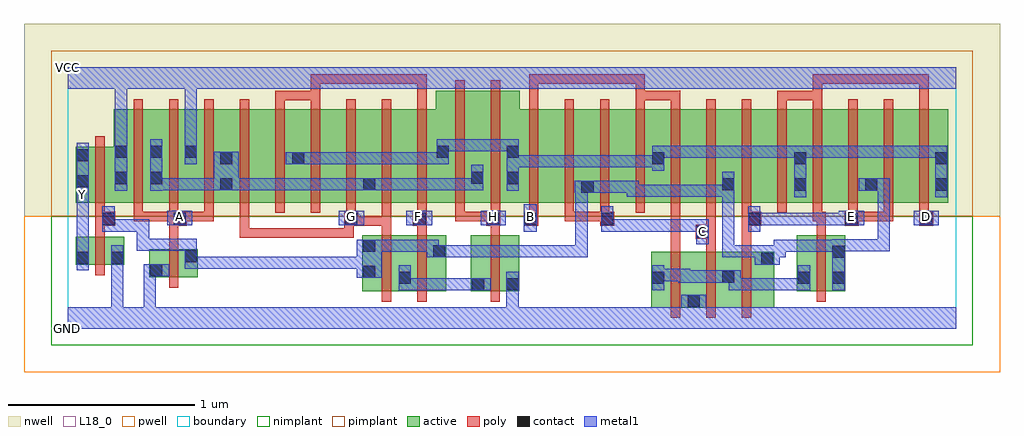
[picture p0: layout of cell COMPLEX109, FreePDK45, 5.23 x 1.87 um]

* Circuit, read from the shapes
.subckt COMPLEX109 A B C D E F G GND H VCC Y
M1 GND n1 Y VSUBS nfet w=0.15u l=0.05u
M2 n1 A GND VSUBS nfet w=0.15u l=0.05u
M3 n2 G n1 VSUBS nfet w=0.3u l=0.05u
M4 n1 F n2 VSUBS nfet w=0.3u l=0.05u
M5 GND H n2 VSUBS nfet w=0.3u l=0.05u
M6 GND B n3 VSUBS nfet w=0.3u l=0.05u
M7 n3 C GND VSUBS nfet w=0.3u l=0.05u
M8 n1 E n3 VSUBS nfet w=0.3u l=0.05u
M9 n1 D n3 VSUBS nfet w=0.3u l=0.05u
M10 VCC n1 Y n4 pfet w=0.3u l=0.05u
M11 n5 A VCC n4 pfet w=0.5u l=0.05u m=3
M12 n6 G n5 n4 pfet w=0.5u l=0.05u
M13 n7 F n6 n4 pfet w=0.5u l=0.05u
M14 n8 F n7 n4 pfet w=0.5u l=0.05u
M15 n5 G n8 n4 pfet w=0.5u l=0.05u
M16 n9 G n5 n4 pfet w=0.5u l=0.05u
M17 n7 F n9 n4 pfet w=0.5u l=0.05u
M18 n5 H n7 n4 pfet w=0.6u l=0.05u m=2
M19 n10 B n7 n4 pfet w=0.5u l=0.05u
M20 n1 C n10 n4 pfet w=0.5u l=0.05u
M21 n11 C n1 n4 pfet w=0.5u l=0.05u
M22 n7 B n11 n4 pfet w=0.5u l=0.05u
M23 n12 B n7 n4 pfet w=0.5u l=0.05u
M24 n1 C n12 n4 pfet w=0.5u l=0.05u
M25 n13 E n1 n4 pfet w=0.5u l=0.05u
M26 n7 D n13 n4 pfet w=0.5u l=0.05u
M27 n14 D n7 n4 pfet w=0.5u l=0.05u
M28 n1 E n14 n4 pfet w=0.5u l=0.05u
M29 n15 E n1 n4 pfet w=0.5u l=0.05u
M30 n7 D n15 n4 pfet w=0.5u l=0.05u
.ends

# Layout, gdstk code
import gdstk
lib = gdstk.Library(unit=1e-6, precision=1e-09)
def R(c, l, rs):  # rectangles x0, y0, x1, y1
    for r in rs: c.add(gdstk.rectangle(r[:2], r[2:], *l))
def A(c, l, x, y, w, h, nx, ny, dx, dy):  # array of equal rectangles
    R(c, l, [(x+i*dx, y+j*dy, x+i*dx+w, y+j*dy+h) for i in range(nx) for j in range(ny)])
active = (1, 0)
pwell = (2, 0)
nwell = (3, 0)
nimplant = (4, 0)
pimplant = (5, 0)
poly = (9, 0)
contact = (10, 0)
metal1 = (11, 0)
L18_0 = (18, 0)
boundary = (235, 0)

complex109 = lib.new_cell('COMPLEX109')
R(complex109, active, [(3.127,0.112,3.392,0.412), (3.317,0.112,3.577,0.412), (3.317,0.112,3.392,0.392), (3.502,0.112,3.785,0.412), (1.577,0.2,1.652,0.5), (1.577,0.2,1.842,0.5), (1.767,0.2,2.027,0.5), (1.767,0.2,1.842,0.392), (2.16,0.2,2.235,0.5), (2.16,0.2,2.42,0.5), (2.345,0.2,2.42,0.5), (3.127,0.2,3.202,0.412), (3.502,0.2,3.577,0.392), (3.907,0.2,3.982,0.5), (3.907,0.2,4.167,0.5), (4.092,0.2,4.167,0.5), (1.952,0.247,2.027,0.5), (3.71,0.247,3.785,0.412), (0.437,0.275,0.697,0.425), (0.437,0.275,0.512,0.425), (0.042,0.342,0.302,0.492), (0.042,0.342,0.117,0.492), (0.227,0.342,0.302,0.492), (0.622,0.35,0.697,0.425), (0.042,0.675,0.117,0.975), (0.042,0.675,0.322,0.975), (0.247,0.675,0.512,1.175), (0.437,0.675,0.512,1.175), (0.437,0.675,0.697,1.175), (0.622,0.675,0.697,1.175), (0.622,0.675,0.887,1.175), (0.812,0.675,1.042,1.175), (0.812,0.675,0.887,1.175), (1.042,0.675,1.272,1.175), (1.197,0.675,1.422,1.175), (1.197,0.675,1.272,1.175), (1.422,0.675,1.652,1.175), (1.577,0.675,1.802,1.175), (1.577,0.675,1.652,1.07), (1.802,0.675,2.047,1.175), (1.972,0.675,2.232,1.275), (2.157,0.675,2.232,1.07), (2.157,0.675,2.422,1.275), (2.347,0.675,2.592,1.175), (2.592,0.675,2.822,1.175), (2.747,0.675,2.972,1.175), (2.747,0.675,2.822,1.07), (2.972,0.675,3.202,1.175), (3.127,0.675,3.352,1.175), (3.127,0.675,3.202,1.175), (3.352,0.675,3.577,1.175), (3.502,0.675,3.577,1.07), (3.502,0.675,3.732,1.175), (3.732,0.675,3.962,1.175), (3.887,0.675,4.112,1.175), (3.887,0.675,3.962,1.175), (4.112,0.675,4.342,1.175), (4.267,0.675,4.492,1.175), (4.267,0.675,4.342,1.07), (4.492,0.675,4.717,1.175), (4.642,0.675,4.717,1.157), (1.972,0.762,2.047,1.2), (2.347,0.762,2.422,1.2), (0.247,0.77,0.322,1.175)])
R(complex109, pwell, [(-0.235,-0.235,4.995,0.602)])
R(complex109, nwell, [(-0.235,0.602,4.995,1.635)])
R(complex109, nimplant, [(-0.09,-0.09,4.85,0.602)])
R(complex109, pimplant, [(-0.09,0.602,4.85,1.49)])
A(complex109, poly, 3.232, 0.057, 0.05, 0.41, 3, 1, 0.19, 0)
A(complex109, poly, 0.352, 0.575, 0.05, 0.095, 3, 1, 0.19, 0)
A(complex109, poly, 2.472, 0.575, 0.05, 0.095, 3, 1, 0.19, 0)
A(complex109, poly, 3.992, 0.575, 0.05, 0.095, 4, 1, 0.19, 0)
A(complex109, poly, 0.352, 0.62, 0.05, 0.61, 9, 1, 0.19, 0)
A(complex109, poly, 2.472, 0.62, 0.05, 0.61, 12, 1, 0.19, 0)
R(complex109, poly, [(1.682,0.145,1.732,0.555), (1.872,0.145,1.922,0.555), (2.265,0.145,2.315,0.555), (4.012,0.145,4.062,0.555), (0.542,0.22,0.592,0.48), (0.147,0.287,0.197,0.547), (3.232,0.417,3.282,0.512), (3.422,0.417,3.472,0.532), (3.612,0.417,3.662,0.6), (0.542,0.43,0.592,0.6), (3.232,0.462,3.282,0.512), (3.232,0.462,3.282,0.67), (3.365,0.482,3.472,0.557), (0.922,0.487,0.972,0.537), (0.922,0.487,0.972,0.537), (0.922,0.487,0.972,0.537), (0.922,0.487,1.162,0.537), (0.922,0.487,0.972,0.67), (1.112,0.487,1.162,0.537), (1.112,0.487,1.162,0.537), (1.112,0.487,1.162,0.537), (1.112,0.487,1.295,0.537), (1.245,0.487,1.295,0.537), (1.245,0.487,1.532,0.537), (1.482,0.487,1.532,0.6), (0.147,0.497,0.197,0.6), (1.682,0.505,1.732,0.6), (1.872,0.505,1.922,0.6), (2.265,0.505,2.315,0.6), (4.012,0.505,4.062,0.625), (3.422,0.507,3.472,0.67), (0.147,0.55,0.255,0.625), (0.542,0.55,0.637,0.625), (1.482,0.55,1.532,0.6), (1.482,0.55,1.557,0.625), (1.507,0.55,1.732,0.6), (1.682,0.55,1.732,0.6), (1.682,0.55,1.732,0.6), (1.682,0.55,1.732,0.6), (1.682,0.55,1.732,0.67), (1.847,0.55,1.922,0.625), (2.242,0.55,2.317,0.625), (2.442,0.55,2.522,0.625), (2.852,0.55,2.927,0.625), (3.612,0.55,3.715,0.625), (4.162,0.55,4.237,0.625), (4.562,0.55,4.637,0.625), (0.147,0.575,0.197,0.67), (0.352,0.575,0.402,0.625), (0.352,0.575,0.592,0.625), (0.542,0.575,0.592,0.625), (0.542,0.575,0.592,0.625), (0.587,0.575,0.782,0.625), (0.732,0.575,0.782,0.625), (0.732,0.575,0.782,0.625), (0.732,0.575,0.782,0.625), (1.492,0.575,1.542,0.67), (1.872,0.575,1.922,0.67), (2.077,0.575,2.127,0.625), (2.077,0.575,2.127,0.67), (2.077,0.575,2.292,0.625), (2.242,0.575,2.292,0.625), (2.242,0.575,2.292,0.625), (2.267,0.575,2.317,0.67), (2.662,0.575,2.712,0.625), (2.662,0.575,2.902,0.625), (2.852,0.575,2.902,0.625), (2.852,0.575,2.902,0.625), (3.612,0.575,3.662,0.67), (3.992,0.575,4.062,0.625), (4.187,0.575,4.422,0.625), (4.372,0.575,4.422,0.625), (4.372,0.575,4.422,0.625), (4.372,0.575,4.422,0.625), (0.147,0.62,0.197,1.03), (2.077,0.62,2.127,1.33), (2.267,0.62,2.317,1.33), (1.112,1.18,1.162,1.275), (1.302,1.18,1.352,1.275), (1.872,1.18,1.922,1.362), (2.472,1.18,2.522,1.362), (3.042,1.18,3.092,1.275), (3.232,1.18,3.282,1.275), (3.802,1.18,3.852,1.275), (3.992,1.18,4.042,1.275), (4.562,1.18,4.612,1.362), (1.112,1.225,1.162,1.275), (1.112,1.225,1.162,1.275), (1.112,1.225,1.162,1.275), (1.112,1.225,1.352,1.275), (1.302,1.225,1.352,1.362), (3.042,1.225,3.282,1.275), (3.042,1.225,3.092,1.282), (3.232,1.225,3.282,1.275), (3.232,1.225,3.282,1.275), (3.232,1.225,3.282,1.275), (3.802,1.225,3.852,1.275), (3.802,1.225,3.852,1.275), (3.802,1.225,3.852,1.275), (3.802,1.225,4.042,1.275), (3.992,1.225,4.042,1.362), (3.042,1.232,3.092,1.282), (3.042,1.232,3.092,1.362), (1.302,1.312,1.6,1.362), (1.55,1.312,1.6,1.362), (1.55,1.312,1.6,1.362), (1.55,1.312,1.6,1.362), (1.55,1.312,1.732,1.362), (1.682,1.312,1.732,1.362), (1.682,1.312,1.732,1.362), (1.682,1.312,1.732,1.362), (1.682,1.312,1.922,1.362), (1.872,1.312,1.922,1.362), (1.872,1.312,1.922,1.362), (1.872,1.312,1.922,1.362), (2.472,1.312,2.522,1.362), (2.472,1.312,2.522,1.362), (2.472,1.312,2.522,1.362), (2.472,1.312,2.655,1.362), (2.605,1.312,2.655,1.362), (2.605,1.312,2.655,1.362), (2.605,1.312,2.655,1.362), (2.605,1.312,2.845,1.362), (2.795,1.312,2.845,1.362), (2.795,1.312,3.092,1.362), (3.992,1.312,4.042,1.362), (3.992,1.312,4.042,1.362), (3.992,1.312,4.29,1.362), (4.24,1.312,4.29,1.362), (4.24,1.312,4.29,1.362), (4.24,1.312,4.29,1.362), (4.24,1.312,4.422,1.362), (4.372,1.312,4.422,1.362), (4.372,1.312,4.612,1.362), (4.562,1.312,4.612,1.362), (4.562,1.312,4.612,1.362), (4.562,1.312,4.612,1.362)])
R(complex109, contact, [(3.322,0.117,3.387,0.182), (2.165,0.205,2.23,0.27), (2.35,0.205,2.415,0.27), (1.772,0.24,1.837,0.305), (3.132,0.24,3.197,0.305), (3.912,0.24,3.977,0.305), (4.097,0.24,4.162,0.305), (3.507,0.245,3.572,0.31), (1.582,0.272,1.647,0.337), (0.442,0.28,0.507,0.345), (3.715,0.342,3.78,0.407), (0.047,0.347,0.112,0.412), (0.232,0.347,0.297,0.412), (0.627,0.355,0.692,0.42), (4.097,0.38,4.162,0.445), (1.957,0.382,2.022,0.447), (1.582,0.412,1.647,0.477), (3.37,0.487,3.435,0.552), (0.185,0.555,0.25,0.62), (0.567,0.555,0.632,0.62), (1.487,0.555,1.552,0.62), (1.852,0.555,1.917,0.62), (2.247,0.555,2.312,0.62), (2.447,0.555,2.512,0.62), (2.857,0.555,2.922,0.62), (3.645,0.555,3.71,0.62), (4.167,0.555,4.232,0.62), (4.567,0.555,4.632,0.62), (2.752,0.727,2.817,0.792), (3.892,0.74,3.957,0.805), (4.272,0.74,4.337,0.805), (4.647,0.74,4.712,0.805), (0.817,0.742,0.882,0.807), (1.582,0.742,1.647,0.807), (3.507,0.742,3.572,0.807), (0.047,0.757,0.112,0.822), (0.252,0.775,0.317,0.84), (0.442,0.775,0.507,0.84), (2.352,0.775,2.417,0.84), (2.162,0.777,2.227,0.842), (1.202,0.88,1.267,0.945), (3.132,0.88,3.197,0.945), (3.892,0.88,3.957,0.945), (4.647,0.88,4.712,0.945), (0.817,0.882,0.882,0.947), (0.047,0.897,0.112,0.962), (0.252,0.915,0.317,0.98), (0.442,0.915,0.507,0.98), (0.627,0.915,0.692,0.98), (1.977,0.915,2.042,0.98), (2.352,0.915,2.417,0.98)])
R(complex109, metal1, [(0,0,4.76,0.115), (0.232,0.05,0.297,0.115), (0.232,0.05,0.297,0.115), (0.232,0.05,0.297,0.115), (0.232,0.05,0.297,0.115), (0.232,0.05,0.297,0.377), (0.407,0.05,0.472,0.345), (2.35,0.05,2.415,0.115), (2.35,0.05,2.415,0.115), (2.35,0.05,2.415,0.235), (3.287,0.05,3.352,0.115), (3.287,0.05,3.352,0.115), (3.287,0.05,3.352,0.182), (3.287,0.117,3.422,0.182), (2.35,0.17,2.415,0.305), (1.772,0.205,1.975,0.27), (1.772,0.205,1.837,0.34), (1.91,0.205,1.975,0.27), (1.91,0.205,1.975,0.27), (1.91,0.205,1.975,0.27), (1.91,0.205,2.14,0.27), (2.075,0.205,2.14,0.27), (2.075,0.205,2.195,0.27), (2.13,0.205,2.265,0.27), (3.132,0.205,3.197,0.34), (3.542,0.205,3.745,0.27), (3.542,0.205,3.607,0.31), (3.68,0.205,3.745,0.27), (3.68,0.205,3.847,0.27), (3.782,0.205,3.847,0.27), (3.782,0.205,3.977,0.27), (3.912,0.205,3.977,0.34), (4.097,0.205,4.162,0.48), (3.472,0.245,3.607,0.312), (3.542,0.245,3.607,0.31), (3.27,0.247,3.537,0.312), (3.27,0.247,3.335,0.32), (3.132,0.255,3.197,0.32), (3.132,0.255,3.197,0.32), (3.132,0.255,3.335,0.32), (3.27,0.255,3.335,0.32), (3.27,0.255,3.335,0.32), (1.547,0.272,1.682,0.477), (0.407,0.28,0.472,0.345), (0.407,0.28,0.472,0.345), (0.407,0.28,0.472,0.345), (0.407,0.28,0.472,0.345), (0.407,0.28,0.542,0.345), (0.047,0.312,0.112,0.447), (0.232,0.312,0.297,0.447), (0.627,0.32,0.83,0.385), (0.627,0.32,0.692,0.455), (0.765,0.32,0.83,0.385), (0.765,0.32,0.83,0.385), (0.765,0.32,0.83,0.385), (0.765,0.32,0.985,0.385), (0.92,0.32,0.985,0.385), (0.92,0.32,1.095,0.385), (1.03,0.32,1.095,0.385), (1.03,0.32,1.122,0.385), (1.057,0.32,1.122,0.385), (1.057,0.32,1.26,0.385), (1.195,0.32,1.26,0.385), (1.195,0.32,1.26,0.385), (1.195,0.32,1.26,0.385), (1.195,0.32,1.44,0.385), (1.375,0.32,1.44,0.385), (1.375,0.32,1.44,0.385), (1.375,0.32,1.44,0.385), (1.375,0.32,1.612,0.385), (3.68,0.342,3.815,0.447), (0.047,0.382,0.112,0.717), (1.922,0.382,1.987,0.447), (1.922,0.382,1.987,0.477), (1.922,0.382,2.057,0.447), (1.992,0.382,2.125,0.447), (2.06,0.382,2.125,0.447), (2.06,0.382,2.277,0.447), (2.212,0.382,2.277,0.447), (2.212,0.382,2.277,0.447), (2.212,0.382,2.277,0.447), (2.212,0.382,2.415,0.447), (2.35,0.382,2.415,0.447), (2.35,0.382,2.415,0.447), (2.35,0.382,2.415,0.447), (2.35,0.382,2.647,0.447), (2.582,0.382,2.647,0.447), (2.582,0.382,2.647,0.447), (2.582,0.382,2.647,0.447), (2.582,0.382,2.715,0.447), (2.65,0.382,2.715,0.447), (2.65,0.382,2.785,0.447), (2.72,0.382,2.785,0.447), (2.72,0.382,2.785,0.792), (3.507,0.382,3.572,0.447), (3.507,0.382,3.71,0.447), (3.507,0.382,3.572,0.772), (3.645,0.382,3.71,0.447), (3.645,0.382,3.745,0.447), (3.75,0.382,3.847,0.447), (3.782,0.382,3.847,0.477), (0.627,0.39,0.692,0.455), (0.627,0.39,0.692,0.482), (1.617,0.412,1.682,0.477), (1.617,0.412,1.682,0.477), (1.617,0.412,1.82,0.477), (1.755,0.412,1.82,0.477), (1.755,0.412,1.987,0.477), (3.782,0.412,3.985,0.477), (3.92,0.412,3.985,0.477), (3.92,0.412,3.985,0.477), (3.92,0.412,3.985,0.477), (3.92,0.412,4.162,0.477), (4.097,0.415,4.162,0.48), (4.097,0.415,4.162,0.48), (4.097,0.415,4.405,0.48), (4.34,0.415,4.405,0.48), (4.34,0.415,4.405,0.48), (4.34,0.415,4.405,0.48), (4.34,0.415,4.405,0.805), (0.37,0.417,0.435,0.482), (0.37,0.417,0.692,0.482), (0.37,0.417,0.435,0.585), (3.367,0.452,3.435,0.587), (0.185,0.52,0.25,0.585), (0.185,0.52,0.25,0.585), (0.185,0.52,0.25,0.655), (0.185,0.52,0.435,0.585), (0.37,0.52,0.435,0.585), (0.37,0.52,0.435,0.585), (0.37,0.52,0.435,0.585), (2.442,0.52,2.512,0.667), (2.857,0.52,3.06,0.585), (2.857,0.52,2.922,0.655), (2.995,0.52,3.197,0.585), (2.995,0.52,3.06,0.585), (2.995,0.52,3.06,0.585), (2.995,0.52,3.06,0.585), (3.132,0.52,3.197,0.585), (3.132,0.52,3.197,0.585), (3.132,0.52,3.197,0.585), (3.132,0.52,3.4,0.585), (3.335,0.52,3.4,0.585), (3.335,0.52,3.432,0.585), (3.645,0.52,3.71,0.655), (0.532,0.555,0.667,0.632), (1.452,0.555,1.587,0.632), (1.812,0.555,1.952,0.632), (2.212,0.555,2.347,0.632), (3.645,0.555,3.745,0.62), (3.68,0.555,3.745,0.62), (3.68,0.555,3.847,0.62), (3.782,0.555,3.847,0.62), (3.782,0.555,3.985,0.62), (3.92,0.555,3.985,0.62), (3.92,0.555,3.985,0.62), (3.92,0.555,3.985,0.62), (3.92,0.555,4.142,0.62), (4.077,0.555,4.142,0.62), (4.077,0.555,4.197,0.62), (4.132,0.555,4.267,0.632), (4.532,0.555,4.667,0.632), (0.047,0.652,0.112,0.787), (3.892,0.705,3.957,0.98), (4.647,0.705,4.712,0.98), (2.995,0.707,3.197,0.772), (2.995,0.707,3.06,0.792), (3.132,0.707,3.197,0.772), (3.132,0.707,3.197,0.772), (3.132,0.707,3.197,0.772), (3.132,0.707,3.4,0.772), (3.335,0.707,3.4,0.772), (3.335,0.707,3.4,0.772), (3.335,0.707,3.4,0.772), (3.335,0.707,3.572,0.772), (3.507,0.707,3.572,0.772), (3.507,0.707,3.572,0.772), (3.507,0.707,3.572,0.842), (0.047,0.722,0.112,0.997), (0.047,0.722,0.112,0.787), (2.717,0.727,2.852,0.792), (2.787,0.727,2.852,0.792), (2.787,0.727,2.852,0.792), (2.787,0.727,3.06,0.792), (2.995,0.727,3.06,0.792), (2.995,0.727,3.06,0.792), (0.252,0.74,0.317,1.015), (0.442,0.74,0.507,1.015), (2.352,0.74,2.417,1.015), (4.237,0.74,4.405,0.805), (0.442,0.742,0.645,0.807), (0.58,0.742,0.645,0.807), (0.58,0.742,0.645,0.807), (0.58,0.742,0.645,0.807), (0.58,0.742,0.847,0.807), (0.782,0.742,0.847,0.807), (0.782,0.742,0.847,0.807), (0.782,0.742,0.917,0.947), (0.852,0.742,0.985,0.807), (0.92,0.742,0.985,0.807), (0.92,0.742,1.095,0.807), (1.03,0.742,1.095,0.807), (1.03,0.742,1.122,0.807), (1.057,0.742,1.122,0.807), (1.057,0.742,1.26,0.807), (1.195,0.742,1.26,0.807), (1.195,0.742,1.26,0.807), (1.195,0.742,1.26,0.807), (1.195,0.742,1.44,0.807), (1.375,0.742,1.44,0.807), (1.375,0.742,1.44,0.807), (1.375,0.742,1.44,0.807), (1.375,0.742,1.612,0.807), (1.547,0.742,1.682,0.807), (1.617,0.742,1.682,0.807), (1.617,0.742,1.682,0.807), (1.617,0.742,1.82,0.807), (1.755,0.742,1.82,0.807), (1.755,0.742,1.82,0.807), (1.755,0.742,1.82,0.807), (1.755,0.742,1.975,0.807), (1.91,0.742,1.975,0.807), (1.91,0.742,2.14,0.807), (2.075,0.742,2.14,0.807), (2.075,0.742,2.227,0.807), (2.162,0.742,2.227,0.877), (3.132,0.845,3.197,0.98), (2.352,0.865,2.555,0.93), (2.49,0.865,2.555,0.93), (2.49,0.865,2.555,0.93), (2.49,0.865,2.555,0.93), (2.49,0.865,2.715,0.93), (2.65,0.865,2.852,0.93), (2.65,0.865,2.715,0.93), (2.787,0.865,2.852,0.93), (2.787,0.865,2.852,0.93), (2.787,0.865,2.852,0.93), (2.787,0.865,3.06,0.93), (2.995,0.865,3.197,0.93), (2.995,0.865,3.06,0.93), (2.995,0.865,3.06,0.93), (2.995,0.865,3.06,0.93), (0.627,0.88,0.692,1.015), (1.167,0.88,1.302,0.945), (1.237,0.88,1.302,0.945), (1.237,0.88,1.302,0.945), (1.237,0.88,1.44,0.945), (1.375,0.88,1.44,0.945), (1.375,0.88,1.44,0.945), (1.375,0.88,1.44,0.945), (1.375,0.88,1.682,0.945), (1.617,0.88,1.682,0.945), (1.617,0.88,1.682,0.945), (1.617,0.88,1.682,0.945), (1.617,0.88,1.82,0.945), (1.755,0.88,1.82,0.945), (1.755,0.88,1.82,0.945), (1.755,0.88,1.82,0.945), (1.755,0.88,2.042,0.945), (1.977,0.88,2.042,1.015), (3.132,0.915,3.197,0.98), (3.132,0.915,3.197,0.98), (3.132,0.915,3.4,0.98), (3.335,0.915,3.4,0.98), (3.335,0.915,3.4,0.98), (3.335,0.915,3.4,0.98), (3.335,0.915,3.607,0.98), (3.542,0.915,3.607,0.98), (3.542,0.915,3.607,0.98), (3.542,0.915,3.607,0.98), (3.542,0.915,3.745,0.98), (3.68,0.915,3.745,0.98), (3.68,0.915,3.847,0.98), (3.782,0.915,3.847,0.98), (3.782,0.915,3.957,0.98), (3.892,0.915,3.985,0.98), (3.92,0.915,3.985,0.98), (3.92,0.915,4.165,0.98), (4.1,0.915,4.165,0.98), (4.1,0.915,4.165,0.98), (4.1,0.915,4.165,0.98), (4.1,0.915,4.437,0.98), (4.372,0.915,4.437,0.98), (4.372,0.915,4.437,0.98), (4.372,0.915,4.437,0.98), (4.372,0.915,4.575,0.98), (4.51,0.915,4.712,0.98), (4.51,0.915,4.575,0.98), (4.51,0.915,4.575,0.98), (4.51,0.915,4.575,0.98), (0.252,0.95,0.317,1.015), (0.252,0.95,0.317,1.015), (0.252,0.95,0.317,1.35), (0.627,0.95,0.692,1.35), (1.977,0.95,2.125,1.015), (2.06,0.95,2.125,1.015), (2.06,0.95,2.277,1.015), (2.212,0.95,2.277,1.015), (2.212,0.95,2.277,1.015), (2.212,0.95,2.277,1.015), (2.212,0.95,2.417,1.015), (0,1.285,4.76,1.4), (0.627,1.285,0.692,1.35), (0.627,1.285,0.692,1.35)])
R(complex109, L18_0, [(0,0,4.76,0.115), (0.232,0.05,0.297,0.115), (0.232,0.05,0.297,0.115), (0.232,0.05,0.297,0.115), (0.232,0.05,0.297,0.115), (0.232,0.05,0.297,0.377), (0.407,0.05,0.472,0.345), (2.35,0.05,2.415,0.115), (2.35,0.05,2.415,0.115), (2.35,0.05,2.415,0.235), (3.287,0.05,3.352,0.115), (3.287,0.05,3.352,0.115), (3.287,0.05,3.352,0.182), (3.287,0.117,3.422,0.182), (2.35,0.17,2.415,0.305), (0.407,0.28,0.472,0.345), (0.407,0.28,0.472,0.345), (0.407,0.28,0.472,0.345), (0.407,0.28,0.472,0.345), (0.407,0.28,0.542,0.345), (0.047,0.312,0.112,0.447), (0.232,0.312,0.297,0.447), (0.047,0.382,0.112,0.717), (3.367,0.452,3.435,0.587), (3.367,0.487,3.432,0.552), (2.442,0.52,2.512,0.667), (2.857,0.52,2.922,0.655), (2.857,0.52,3.06,0.585), (2.995,0.52,3.06,0.585), (2.995,0.52,3.06,0.585), (2.995,0.52,3.06,0.585), (2.995,0.52,3.197,0.585), (3.132,0.52,3.197,0.585), (3.132,0.52,3.197,0.585), (3.132,0.52,3.197,0.585), (3.132,0.52,3.4,0.585), (3.335,0.52,3.4,0.585), (3.335,0.52,3.432,0.585), (3.645,0.52,3.71,0.655), (0.532,0.555,0.667,0.632), (1.452,0.555,1.587,0.632), (1.812,0.555,1.952,0.632), (2.212,0.555,2.347,0.632), (3.645,0.555,3.745,0.62), (3.68,0.555,3.745,0.62), (3.68,0.555,3.847,0.62), (3.782,0.555,3.847,0.62), (3.782,0.555,3.985,0.62), (3.92,0.555,3.985,0.62), (3.92,0.555,3.985,0.62), (3.92,0.555,3.985,0.62), (3.92,0.555,4.142,0.62), (4.077,0.555,4.142,0.62), (4.077,0.555,4.197,0.62), (4.132,0.555,4.267,0.632), (4.532,0.555,4.667,0.632), (0.567,0.567,0.632,0.632), (1.487,0.567,1.552,0.632), (1.847,0.567,1.912,0.632), (2.247,0.567,2.312,0.632), (2.447,0.567,2.512,0.632), (4.167,0.567,4.232,0.632), (4.567,0.567,4.632,0.632), (0.047,0.652,0.112,0.787), (0.047,0.687,0.112,0.752), (0.047,0.722,0.112,0.997), (0.047,0.722,0.112,0.787), (0.252,0.74,0.317,1.015), (0.627,0.88,0.692,1.015), (0.252,0.95,0.317,1.015), (0.252,0.95,0.317,1.015), (0.252,0.95,0.317,1.35), (0.627,0.95,0.692,1.35), (0,1.285,4.76,1.4), (0.627,1.285,0.692,1.35), (0.627,1.285,0.692,1.35)])
R(complex109, boundary, [(0,0,4.76,1.4)])
complex109.add(gdstk.Label('A', (0.6,0.6), layer=11, texttype=0))
complex109.add(gdstk.Label('B', (2.48,0.6), layer=11, texttype=0))
complex109.add(gdstk.Label('C', (3.4,0.52), layer=11, texttype=0))
complex109.add(gdstk.Label('D', (4.6,0.6), layer=11, texttype=0))
complex109.add(gdstk.Label('E', (4.2,0.6), layer=11, texttype=0))
complex109.add(gdstk.Label('F', (1.88,0.6), layer=11, texttype=0))
complex109.add(gdstk.Label('G', (1.52,0.6), layer=11, texttype=0))
complex109.add(gdstk.Label('H', (2.28,0.6), layer=11, texttype=0))
complex109.add(gdstk.Label('Y', (0.08,0.72), layer=11, texttype=0))
complex109.add(gdstk.Label('VCC', (0,1.4), layer=11, texttype=0))
complex109.add(gdstk.Label('GND', (0,0), layer=11, texttype=0))

lib.write_gds('COMPLEX109.gds')
